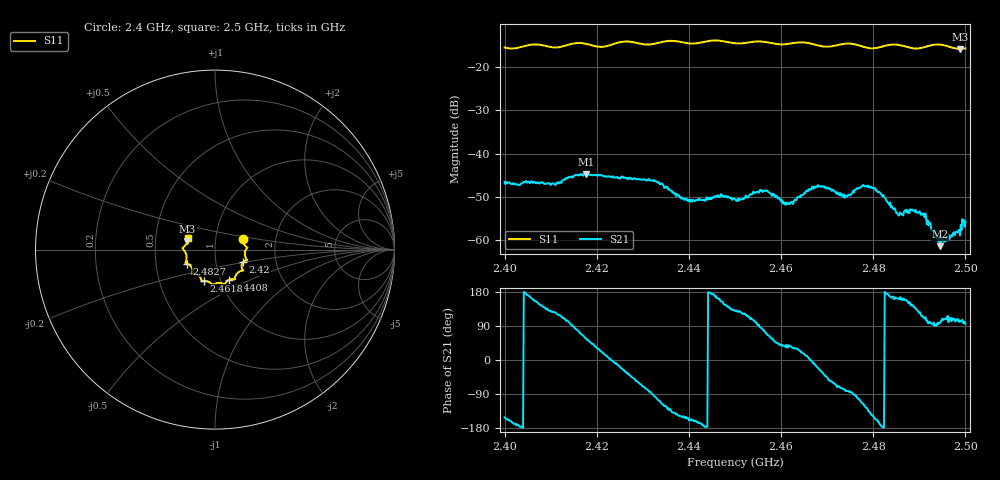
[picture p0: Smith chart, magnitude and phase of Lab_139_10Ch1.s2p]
# Hz S RI R 50
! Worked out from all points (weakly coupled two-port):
!   601 points, 2.4 GHz to 2.5 GHz, reference 50 ohm
!   highest |S21| = -44.67 dB at 2.4177 GHz (marker M1); lowest = -61.4 dB at 2.4945 GHz (marker M2)
!   lowest |S11| = -15.9 dB at 2.4988 GHz (marker M3), VSWR 1.38, Z = 36.5 + j3.39 ohm
!   |S11| at or under -10 dB: start of sweep to end of sweep
!   S12 and S22 are empty: the file has one direction only
!   S11 on the Smith chart (normalised r, x): 2.4 GHz: 1.36, +0.17; 2.42 GHz: 1.36, -0.19; 2.4408 GHz: 1.10, -0.38; 2.4618 GHz: 0.84, -0.30; 2.4827 GHz: 0.72, -0.12; 2.5 GHz: 0.73, +0.09
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2.4e9  0.1553 0.0616  -0.00415 -0.00222  0 0  0 0
2.4105e9  0.1674 -0.0117  -0.00266 0.00365  0 0  0 0
2.416667e9  0.1787 -0.059  0.00216 0.00526  0 0  0 0
2.417667e9  0.1748 -0.0598  0.00317 0.0049  0 0  0 0
2.42e9  0.157 -0.0693  0.00475 0.00289  0 0  0 0
2.433333e9  0.1119 -0.1526  -0.00128 -0.00445  0 0  0 0
2.440833e9  0.0783 -0.1686  -0.00272 -0.00108  0 0  0 0
2.45e9  0.0273 -0.1854  -0.00189 0.00228  0 0  0 0
2.456667e9  -0.0165 -0.1929  0.00122 0.00355  0 0  0 0
2.461833e9  -0.0608 -0.1751  0.00208 0.00158  0 0  0 0
2.466667e9  -0.0764 -0.1683  0.00402 -0.000185  0 0  0 0
2.469e9  -0.0865 -0.1488  0.00349 -0.00229  0 0  0 0
2.474e9  -0.1258 -0.136  0.000464 -0.00322  0 0  0 0
2.478333e9  -0.1261 -0.1107  -0.0024 -0.00342  0 0  0 0
2.482667e9  -0.1576 -0.0775  -0.00303 0.000156  0 0  0 0
2.483333e9  -0.1616 -0.0765  -0.00266 0.000346  0 0  0 0
2.4855e9  -0.1643 -0.0715  -0.00182 0.000629  0 0  0 0
2.4885e9  -0.1586 -0.0427  -0.00182 0.00135  0 0  0 0
2.491e9  -0.1681 -0.01  -0.00067 0.0018  0 0  0 0
2.4945e9  -0.1806 0.00915  -0.000108 0.000848  0 0  0 0
2.498833e9  -0.1541 0.0453  -0.000217 0.00112  0 0  0 0
2.5e9  -0.1512 0.0626  -0.000159 0.00162  0 0  0 0
